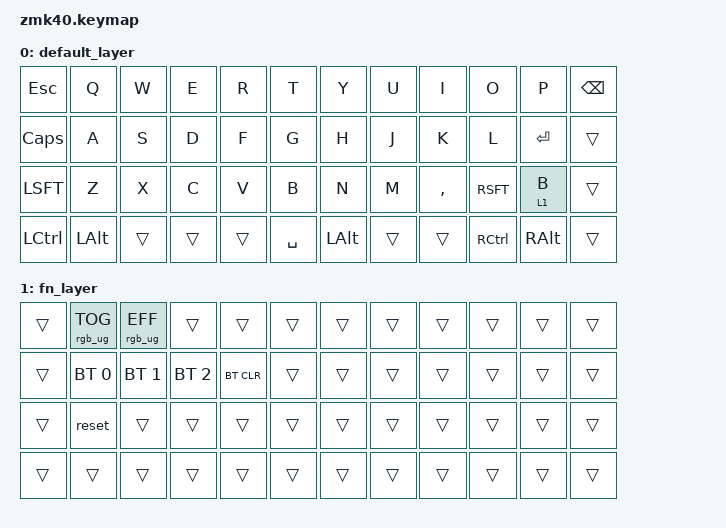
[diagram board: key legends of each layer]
#include <behaviors.dtsi>
#include <dt-bindings/zmk/keys.h>
#include <dt-bindings/zmk/bt.h>
#include <dt-bindings/zmk/outputs.h>
#include <dt-bindings/zmk/rgb.h>
#include <dt-bindings/zmk/ext_power.h>

/ {
	keymap {
		compatible = "zmk,keymap";

		default_layer {

			bindings = <
	&kp ESC          &kp Q           &kp W           &kp E        &kp R        &kp T        &kp Y           &kp U           &kp I           &kp O           &kp P           &kp BKSP
	&kp CAPS         &kp A           &kp S           &kp D        &kp F        &kp G        &kp H           &kp J           &kp K           &kp L           &kp RET         &trans          
	&kp LSFT         &kp Z           &kp X           &kp C        &kp V        &kp B        &kp N           &kp M           &kp CMMA        &kp RSFT        &lt 1 B         &trans         
	&kp LCTRL        &kp LALT        &trans          &trans       &trans       &kp SPACE    &kp LALT        &trans          &trans          &kp RCTRL       &kp RALT        &trans
			>;
		};

		fn_layer {
// |RGB_TOG|RGB_BRD|RGB_BRI|       |       |RGB_HUD|RGB_HUI|RGB_SAD|RGB_SAI|RGB_EFR|RGB_EFF|RGB_SPD|RGB_SPD|       | MUTE  |
// |       |       |       |       |       |       |       |       |       |       |       |       |       |       |       |
// |       |       |       |       |       |       |       |       |       |       |       |       |       |       |       |
// |       |       |       |       |       |       |       |       |       |       |       |       |       |       |       |
// |       |       |       |       |       |       |       |       |       |       |       |       | LT 2  |       |       |
// |       |       |       |                                                       |       | LT 1  |       |       |       |

			bindings = <
	&trans         &rgb_ug RGB_TOG    &rgb_ug RGB_EFF         &trans        &trans        &trans        &trans           &trans           &trans           &trans           &trans         &trans
	&trans         &bt BT_SEL 0       &bt BT_SEL 1            &bt BT_SEL 2  &bt BT_CLR        &trans        &trans           &trans           &trans           &trans           &trans         &trans          
	&trans         &reset             &trans                  &trans        &trans        &trans        &trans           &trans           &trans           &trans           &trans         &trans         
	&trans         &trans             &trans                  &trans        &trans        &trans        &trans           &trans           &trans           &trans           &trans         &trans
			>;
		};
	};
};
